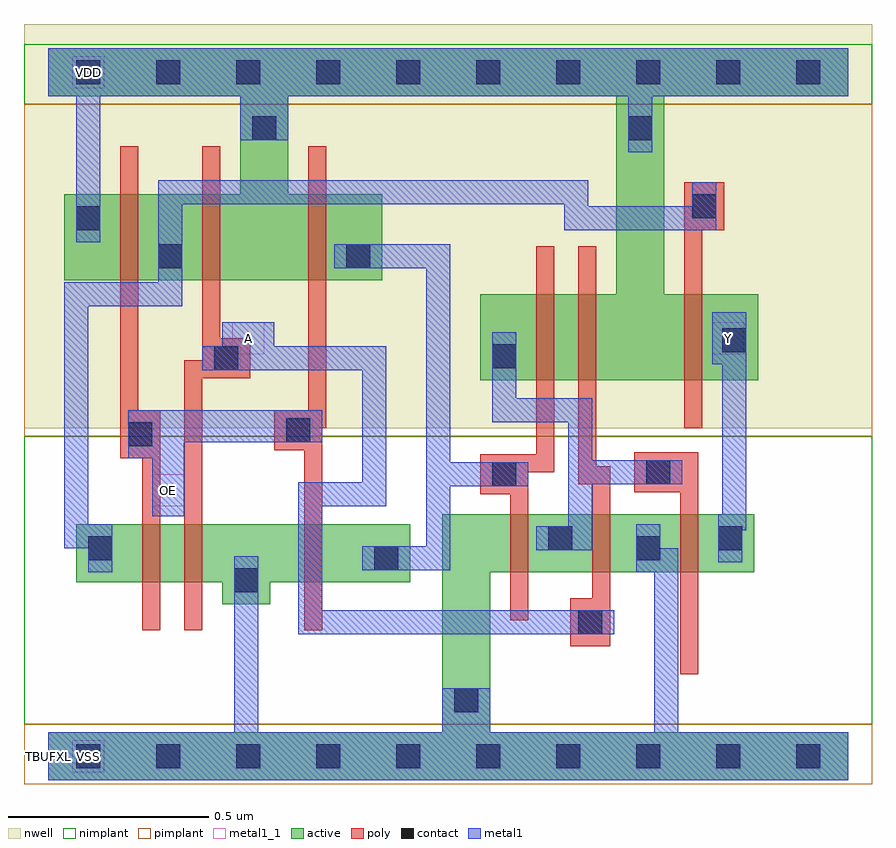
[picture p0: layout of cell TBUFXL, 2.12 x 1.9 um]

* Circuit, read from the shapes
.subckt TBUFXL A OE VDD VSS Y
M1 n1 OE n2 VSS nfet w=0.145u l=0.045u
M2 VSS A n1 VSS nfet w=0.145u l=0.045u
M3 n3 OE VSS VSS nfet w=0.145u l=0.045u
M4 n4 n3 VSS VSS nfet w=0.145u l=0.045u
M5 VSS A n4 VSS nfet w=0.145u l=0.045u
M6 Y n4 VSS VSS nfet w=0.145u l=0.045u
M7 n2 OE VDD VDD pfet w=0.215u l=0.045u
M8 VDD A n2 VDD pfet w=0.215u l=0.045u
M9 n3 OE VDD VDD pfet w=0.215u l=0.045u
M10 n5 n3 n4 VDD pfet w=0.215u l=0.045u
M11 VDD A n5 VDD pfet w=0.215u l=0.045u
M12 Y n2 VDD VDD pfet w=0.215u l=0.045u
.ends

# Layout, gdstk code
import gdstk
lib = gdstk.Library(unit=1e-6, precision=5e-10)
def R(c, l, rs):  # rectangles x0, y0, x1, y1
    for r in rs: c.add(gdstk.rectangle(r[:2], r[2:], *l))
def A(c, l, x, y, w, h, nx, ny, dx, dy):  # array of equal rectangles
    R(c, l, [(x+i*dx, y+j*dy, x+i*dx+w, y+j*dy+h) for i in range(nx) for j in range(ny)])
def P(c, l, *ps):  # polygons
    for p in ps: c.add(gdstk.Polygon(p, *l))
active = (1, 0)
nwell = (2, 0)
poly = (3, 0)
nimplant = (4, 0)
pimplant = (5, 0)
contact = (6, 0)
metal1 = (7, 0)
metal1_1 = (7, 1)

tbufxl = lib.new_cell('TBUFXL')
P(tbufxl, active, [(0,1.77),(2,1.77),(2,1.65),(1.54,1.65),(1.54,1.155),(1.775,1.155),(1.775,0.94),(1.08,0.94),(1.08,1.155),(1.42,1.155),(1.42,1.65),(0.6,1.65),(0.6,1.405),(0.835,1.405),(0.835,1.19),(0.04,1.19),(0.04,1.405),(0.48,1.405),(0.48,1.65),(0,1.65)],
  [(0.07,0.58),(0.905,0.58),(0.905,0.435),(0.555,0.435),(0.555,0.38),(0.435,0.38),(0.435,0.435),(0.07,0.435)],
  [(0.985,0.605),(1.765,0.605),(1.765,0.46),(1.105,0.46),(1.105,0.06),(2,0.06),(2,-0.06),(0,-0.06),(0,0.06),(0.985,0.06)])
R(tbufxl, nwell, [(-0.06,0.82,2.06,1.83)])
P(tbufxl, poly, [(0.18,1.525),(0.225,1.525),(0.225,0.865),(0.28,0.865),(0.28,0.315),(0.235,0.315),(0.235,0.745),(0.18,0.745)],
  [(0.385,1.525),(0.43,1.525),(0.43,1.045),(0.505,1.045),(0.505,0.945),(0.385,0.945),(0.385,0.315),(0.34,0.315),(0.34,0.99),(0.385,0.99)],
  [(0.65,1.525),(0.695,1.525),(0.695,0.82),(0.685,0.82),(0.685,0.315),(0.64,0.315),(0.64,0.765),(0.565,0.765),(0.565,0.865),(0.65,0.865)],
  [(1.22,1.275),(1.265,1.275),(1.265,0.71),(1.2,0.71),(1.2,0.34),(1.155,0.34),(1.155,0.655),(1.08,0.655),(1.08,0.755),(1.22,0.755)],
  [(1.325,1.275),(1.37,1.275),(1.37,0.725),(1.405,0.725),(1.405,0.275),(1.305,0.275),(1.305,0.395),(1.36,0.395),(1.36,0.68),(1.325,0.68)],
  [(1.59,1.435),(1.69,1.435),(1.69,1.315),(1.635,1.315),(1.635,0.82),(1.59,0.82)],
  [(1.465,0.76),(1.625,0.76),(1.625,0.205),(1.58,0.205),(1.58,0.66),(1.465,0.66)])
R(tbufxl, nimplant, [(-0.06,0.08,2.06,0.8), (-0.06,1.63,2.06,1.78)])
R(tbufxl, pimplant, [(-0.06,-0.07,2.06,0.08), (-0.06,0.8,2.06,1.63)])
A(tbufxl, contact, 0.07, -0.03, 0.06, 0.06, 10, 2, 0.2, 1.71)
R(tbufxl, contact, [(1.015,0.11,1.075,0.17), (1.325,0.305,1.385,0.365), (0.465,0.41,0.525,0.47), (0.815,0.465,0.875,0.525), (0.1,0.49,0.16,0.55), (1.47,0.49,1.53,0.55), (1.25,0.515,1.31,0.575), (1.675,0.515,1.735,0.575), (1.11,0.675,1.17,0.735), (1.495,0.68,1.555,0.74), (0.2,0.775,0.26,0.835), (0.595,0.785,0.655,0.845), (0.415,0.965,0.475,1.025), (1.11,0.97,1.17,1.03), (1.685,1.01,1.745,1.07), (0.275,1.22,0.335,1.28), (0.745,1.22,0.805,1.28), (0.07,1.315,0.13,1.375), (1.61,1.345,1.67,1.405), (0.51,1.54,0.57,1.6), (1.45,1.54,1.51,1.6)])
P(tbufxl, metal1, [(0,1.77),(2,1.77),(2,1.65),(1.51,1.65),(1.51,1.51),(1.45,1.51),(1.45,1.65),(0.6,1.65),(0.6,1.54),(0.48,1.54),(0.48,1.65),(0.13,1.65),(0.13,1.285),(0.07,1.285),(0.07,1.65),(0,1.65)],
  [(0.275,1.44),(1.35,1.44),(1.35,1.375),(1.61,1.375),(1.61,1.435),(1.67,1.435),(1.67,1.315),(1.29,1.315),(1.29,1.38),(0.335,1.38),(0.335,1.125),(0.1,1.125),(0.1,0.58),(0.16,0.58),(0.16,0.46),(0.1,0.46),(0.1,0.52),(0.04,0.52),(0.04,1.185),(0.275,1.185)],
  [(0.715,1.28),(1.005,1.28),(1.005,0.735),(1.2,0.735),(1.2,0.675),(1.005,0.675),(1.005,0.465),(0.785,0.465),(0.785,0.525),(0.945,0.525),(0.945,1.22),(0.715,1.22)],
  [(0.435,1.085),(0.565,1.085),(0.565,1.025),(0.845,1.025),(0.845,0.625),(0.685,0.625),(0.685,0.365),(1.415,0.365),(1.415,0.305),(0.625,0.305),(0.625,0.685),(0.785,0.685),(0.785,0.965),(0.385,0.965),(0.385,1.025),(0.435,1.025)],
  [(0.2,0.865),(0.685,0.865),(0.685,0.785),(0.34,0.785),(0.34,0.6),(0.26,0.6),(0.26,0.745),(0.2,0.745)],
  [(1.11,1.06),(1.17,1.06),(1.17,0.895),(1.36,0.895),(1.36,0.74),(1.585,0.74),(1.585,0.68),(1.36,0.68),(1.36,0.515),(1.22,0.515),(1.22,0.575),(1.3,0.575),(1.3,0.835),(1.11,0.835)],
  [(1.66,1.11),(1.745,1.11),(1.745,0.565),(1.735,0.565),(1.735,0.485),(1.675,0.485),(1.675,0.605),(1.685,0.605),(1.685,0.98),(1.66,0.98)],
  [(1.47,0.58),(1.53,0.58),(1.53,0.52),(1.575,0.52),(1.575,0.06),(2,0.06),(2,-0.06),(0,-0.06),(0,0.06),(0.465,0.06),(0.465,0.5),(0.525,0.5),(0.525,0.06),(0.985,0.06),(0.985,0.17),(1.105,0.17),(1.105,0.06),(1.515,0.06),(1.515,0.46),(1.47,0.46)])
R(tbufxl, metal1_1, [(0.06,-0.04,0.14,0.04), (0.26,0.625,0.34,0.705), (0.46,1.005,0.54,1.085), (1.66,1.005,1.74,1.085), (0.06,1.67,0.14,1.75)])
tbufxl.add(gdstk.Label('Y', (1.7,1.045), layer=7, texttype=1))
tbufxl.add(gdstk.Label('A', (0.5,1.045), layer=7, texttype=1))
tbufxl.add(gdstk.Label('OE', (0.3,0.665), layer=7, texttype=1))
tbufxl.add(gdstk.Label('VDD', (0.1,1.71), layer=7, texttype=1))
tbufxl.add(gdstk.Label('VSS', (0.1,0), layer=7, texttype=1))
tbufxl.add(gdstk.Label('TBUFXL', (0,0), layer=63, texttype=0))

lib.write_gds('TBUFXL.gds')
